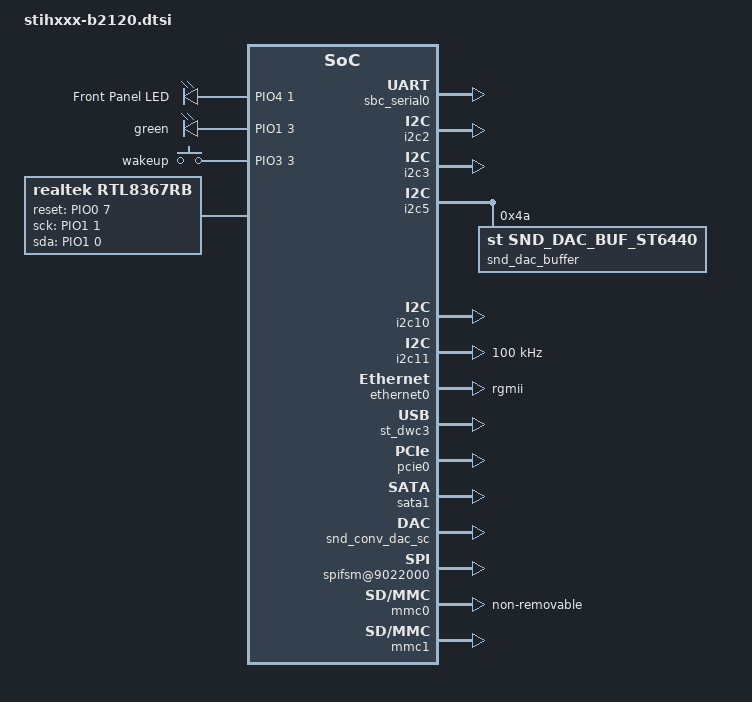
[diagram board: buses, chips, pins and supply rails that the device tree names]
/*
 * Copyright (C) 2014 STMicroelectronics (R&D) Limited.
 * Author: Giuseppe Cavallaro <peppe.cavallaro@st.com>
 *
 * This program is free software; you can redistribute it and/or modify
 * it under the terms of the GNU General Public License version 2 as
 * published by the Free Software Foundation.
 */
/ {
	chosen {
		bootargs = "console=ttyAS0,115200";
		linux,stdout-path = &sbc_serial0;
	};

	aliases {
		ttyAS0 = &sbc_serial0;
		ethernet0 = &ethernet0;
	};

	soc {
		sbc_serial0: serial@9530000 {
			status = "okay";
		};

		leds {
			compatible = "gpio-leds";
			red {
				#gpio-cells = <2>;
				label = "Front Panel LED";
				gpios = <&PIO4 1 0>;
				linux,default-trigger = "heartbeat";
			};
			green {
				#gpio-cells = <2>;
				gpios = <&PIO1 3 0>;
				default-state = "off";
			};
		};

		rc: rc@09518000 {
			status = "okay";
		};

		/* NIM-A */
		i2c2: i2c@9842000 {
			status = "okay";
		};

		/* NIM-B */
		i2c3: i2c@9843000 {
			status = "okay";
		};

		/* SSC4 to PCIe connector */
		i2c4: i2c@9844000 {
			status = "disabled";
		};

		/* SSC5 to STV6440,  PCIe connector, I2C Eeprom */
		i2c5: i2c@9845000 {
			status = "okay";
		};

		/* SSC10 to STV0368 */
		i2c10: i2c@9540000 {
			status = "okay";
		};

		/* SSC11 to HDMI */
		i2c11: i2c@9541000 {
			status = "okay";
			/* HDMI V1.3a supports Standard mode only */
			clock-frequency = <100000>;
			st,i2c-min-scl-pulse-width-us = <0>;
			st,i2c-min-sda-pulse-width-us = <1>;
		};

		lpm:stm-lpm@9400000 {
			status = "okay";
			gpios = <&PIO3 2 0>;
			st,lmi-ret-gpio = <&PIO5 2 0>;
		};

		gpio_keys {
			compatible = "gpio-keys";
			#address-cells = <1>;
			#size-cells = <0>;
			button@1 {
				label = "wakeup";
				linux,code = <41>;
				gpios = <&PIO3 3 0>;
				gpio-key,wakeup;
			};
		};

		ethernet0: dwmac@9630000 {
			st,tx-retime-src = "clkgen";
			status = "okay";
			phy-mode = "rgmii";
			fixed-link = <1 1000 0 0>;
			snps,phy-addr = <0x1>;
		};

		realtek: rtl8367rb {
			compatible = "realtek,rtl8367rb";
			status = "okay";

			gpio-reset = <&PIO0 7 0>;
			gpio-sck = <&PIO1 1 0>;
			gpio-sda = <&PIO1 0 0>;

			rtl8367rb,extif1;
			rtl8367rb,extif1-mode = <1>;	// RGMII
			rtl8367rb,extif1-txdelay = <0>;
			rtl8367rb,extif1-rxdelay = <1>;
			rtl8367rb,extif1-force_mode = <1>;
			rtl8367rb,extif1-txpause = <2>;
			rtl8367rb,extif1-rxpause = <2>;
			rtl8367rb,extif1-link = <1>;
			rtl8367rb,extif1-duplex = <1>;
			rtl8367rb,extif1-speed = <2>; // Giga speed

			rtl8367rb,extif2;
			rtl8367rb,extif2-mode = <1>;	// RGMII
			rtl8367rb,extif2-txdelay = <1>;
			rtl8367rb,extif2-rxdelay = <1>;
			rtl8367rb,extif2-force_mode = <1>;
			rtl8367rb,extif2-txpause = <1>;
			rtl8367rb,extif2-rxpause = <1>;
			rtl8367rb,extif2-link = <1>;
			rtl8367rb,extif2-duplex = <1>;
			rtl8367rb,extif2-speed = <2>; // Giga speed
		};

		st_dwc3: dwc3@8f94000 {
			status = "okay";
		};

                miphy28lp_phy0: miphy28lp@0 {
                        status = "okay";
                };

		miphy28lp_phy1: miphy28lp@1 {
			st,sata_gen	= "gen3";
			st,osc-force-ext;
			status = "okay";
		};

		pcie0: pcie@9b00000 {
			status = "okay";
		};

		sata1: sata@9b28000 {
			status = "okay";
		};

		/* Uniperipheral */
		snd_uni_player0: snd-uni-player@0 {
			status = "okay";
		};

		snd_uni_player1: snd-uni-player@1 {
			status = "okay";
		};

		snd_uni_player2: snd-uni-player@2 {
			status = "okay";
		};

		snd_uni_player3: snd-uni-player@3 {
			status = "okay";
		};

		snd_uni_reader0: snd-uni-reader@0 {
			status = "disabled";
		};

		snd_uni_reader1: snd-uni-reader@1 {
			status = "okay";
		};

		snd_conv_dac_sc: snd-conv-dac-sc {
			status = "okay";
		};

		snd_conv_biphase: snd-conv-biphase {
			status = "okay";
		};

		/* audio dac buffer */
		i2c@9845000 {
			status = "okay";
			#address-cells = <1>;
			#size-cells = <0>;

			snd_dac_buffer@4a {
				compatible = "st,snd_dac_buf_st6440";
				reg = <0x4a>;
				st,source-bus-id = <&snd_uni_player2>;
				st,buffer-gain = <2>;
			};
		};

		spifsm@9022000 {
			status = "okay";
			flash-name = "n25q256";
			partitions = <&b2120_fsm_partitions>;

			b2120_fsm_partitions: partitions-b2120 {
				#address-cells = <1>;
				#size-cells = <1>;
				partition@0 {
					label = "boot";
					/* 16M */
					reg = <0x00000000 0x00A00000>;
				};
				partition@0A00000 {
					label = "rest";
					/* 16M */
					reg = <0x00A00000 0x01600000>;
				};
			};
		};

		mmc0: sdhci@09060000 {
			non-removable;
			status = "okay";
		};
		mmc1: sdhci@09080000 {
			status = "okay";
		};
	};
};
